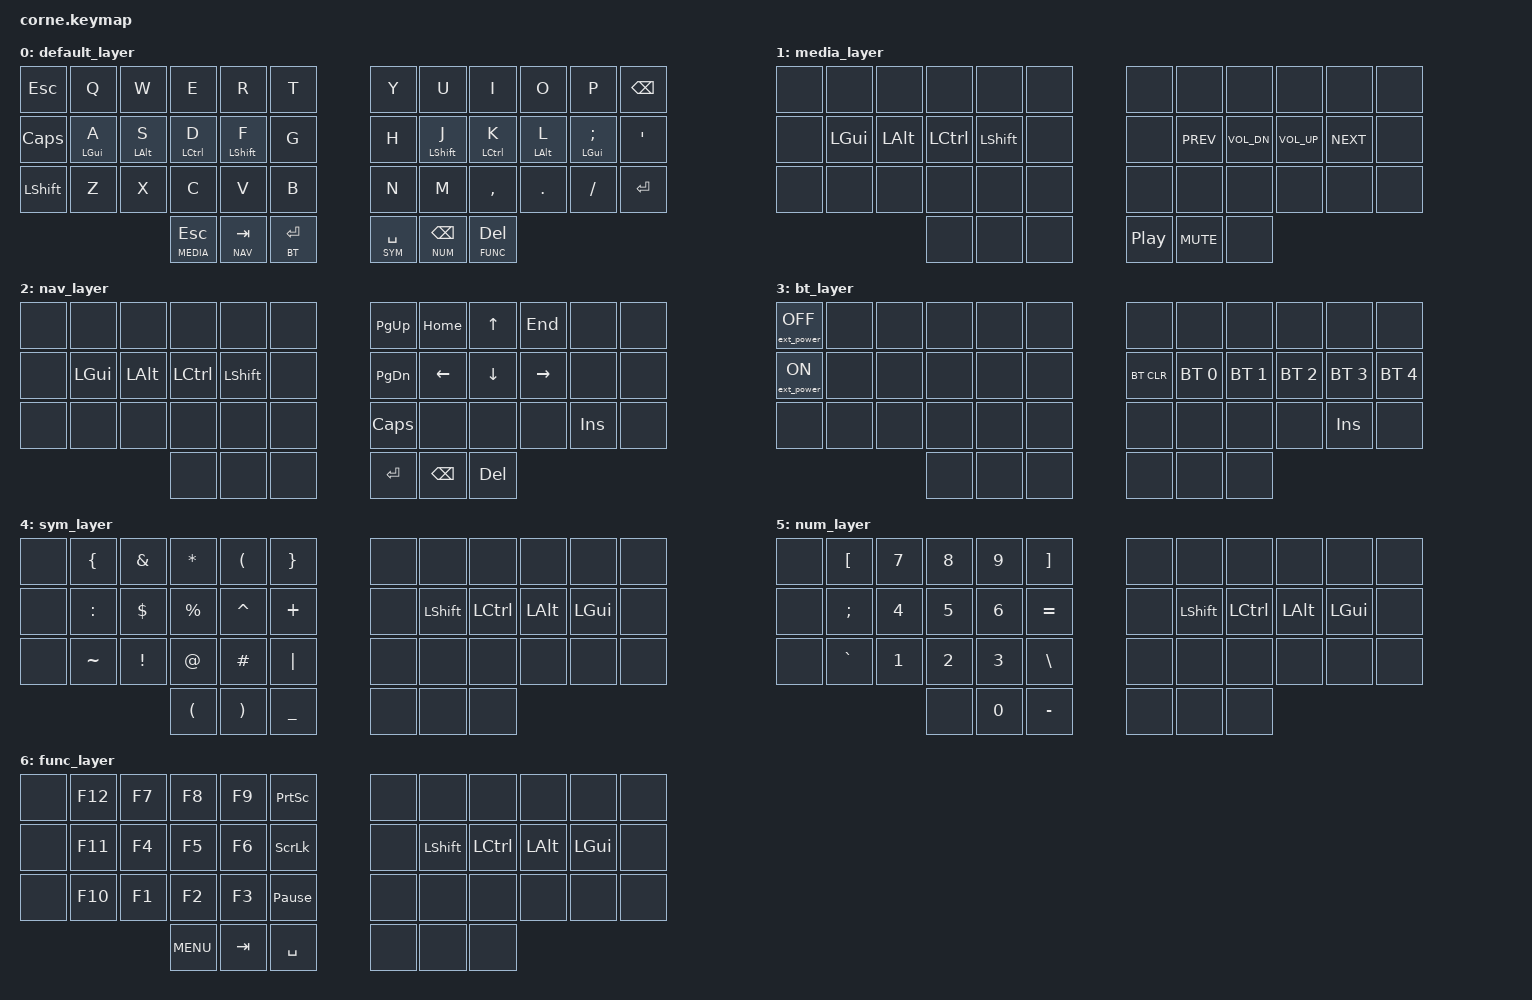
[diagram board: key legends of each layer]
/*
 * Copyright (c) 2020 The ZMK Contributors
 *
 * SPDX-License-Identifier: MIT
 */

#include <behaviors.dtsi>
#include <dt-bindings/zmk/keys.h>
#include <dt-bindings/zmk/bt.h>
#include <dt-bindings/zmk/ext_power.h>

#define QWERT 0
#define MEDIA 1
#define NAV   2
#define BT    3
#define SYM   4
#define NUM   5
#define FUNC  6

&mt {
    tapping-term-ms = <200>;
    flavor = "tap-preferred";
};

&caps_word {
    continue-list = <UNDERSCORE MINUS>;
};

/ {
        keymap {
                compatible = "zmk,keymap";

                default_layer {
// -----------------------------------------------------------------------------------------
// |  ESC |  Q  |  W  |  E  |  R  |  T  |   |  Y  |  U   |  I  |  O  |  P  | BKSP |
// | CAPS |  A  |  S  |  D  |  F  |  G  |   |  H  |  J   |  K  |  L  |  ;  |  '   |
// | SHFT |  Z  |  X  |  C  |  V  |  B  |   |  N  |  M   |  ,  |  .  |  /  | ENT  |
//                    | ESC | TAB | ENT |   | SPC | BKSP | DEL |
                        bindings = <
   &kp ESC   &kp Q      &kp W      &kp E       &kp R         &kp T          &kp Y         &kp U        &kp I       &kp O      &kp P         &kp BSPC
   &kp CAPS  &mt LGUI A &mt LALT S &mt LCTRL D &mt LSHFT F   &kp G          &kp H         &mt LSHFT J  &mt LCTRL K &mt LALT L &mt LGUI SEMI &kp SQT
   &kp LSHFT &kp Z      &kp X      &kp C       &kp V         &kp B          &kp N         &kp M        &kp COMMA   &kp DOT    &kp FSLH      &kp ENTER
                                   &lt MEDIA ESC &lt NAV TAB &lt BT ENTER   &lt SYM SPACE &lt NUM BSPC &lt FUNC DEL
                        >;
                };
                media_layer {
// -----------------------------------------------------------------------------------------
// |     |      |      |       |       |     |   |      |      |      |      |      |     |
// |     | LGUI | LALT | LCTRL | LSHFT |     |   |      | PREV | VOL- | VOL+ | NEXT |     |
// |     |      |      |       |       |     |   |      |      |      |      |      |     |
//                     |       |       |     |   | PLAY | MUTE |      |
                        bindings = <
   &none &none    &none    &none     &none     &none   &none    &none      &none        &none        &none      &none
   &none &kp LGUI &kp LALT &kp LCTRL &kp LSHFT &none   &none    &kp C_PREV &kp C_VOL_DN &kp C_VOL_UP &kp C_NEXT &none
   &none &none    &none    &none     &none     &none   &none    &none      &none        &none        &none      &none
                            &none    &none     &none   &kp C_PP &kp C_MUTE &none
                        >;
                };

                nav_layer {
// -----------------------------------------------------------------------------------------
// |  TAB |  !  |  @  |  #  |  $  |  %  |   |  ^  |  &  |  *  |  (  |  )  | BKSP |
// | CTRL |     |     |     |     |     |   |  -  |  =  |  [  |  ]  |  \  |  `   |
// | SHFT |     |     |     |     |     |   |  _  |  +  |  {  |  }  | "|" |  ~   |
//                    | GUI |     | SPC |   | ENT |     | ALT |
                        bindings = <
   &none &none    &none    &none     &none     &none   &kp PG_UP &kp HOME &kp UP   &kp END   &none   &none
   &none &kp LGUI &kp LALT &kp LCTRL &kp LSHFT &none   &kp PG_DN &kp LEFT &kp DOWN &kp RIGHT &none   &none
   &none &none    &none    &none     &none     &none   &kp CAPS  &none    &none    &none     &kp INS &none
                           &none     &none     &none   &kp ENTER &kp BSPC &kp DEL
                        >;
                };
                
                bt_layer {
// -----------------------------------------------------------------------------------------
// |  TAB |  !  |  @  |  #  |  $  |  %  |   |  ^  |  &  |  *  |  (  |  )  | BKSP |
// | CTRL |     |     |     |     |     |   |  -  |  =  |  [  |  ]  |  \  |  `   |
// | SHFT |     |     |     |     |     |   |  _  |  +  |  {  |  }  | "|" |  ~   |
//                    | GUI |     | SPC |   | ENT |     | ALT |
                        bindings = <
   &ext_power EP_OFF &none &none &none &none &none   &none      &none        &none        &none        &none        &none
   &ext_power EP_ON  &none &none &none &none &none   &bt BT_CLR &bt BT_SEL 0 &bt BT_SEL 1 &bt BT_SEL 2 &bt BT_SEL 3 &bt BT_SEL 4
   &none             &none &none &none &none &none   &none      &none        &none        &none        &kp INS      &none
                                 &none &none &none   &none      &none        &none
                        >;
                };

                sym_layer {
// -----------------------------------------------------------------------------------------
// |  TAB |  !  |  @  |  #  |  $  |  %  |   |  ^  |  &  |  *  |  (  |  )  | BKSP |
// | CTRL |     |     |     |     |     |   |  -  |  =  |  [  |  ]  |  \  |  `   |
// | SHFT |     |     |     |     |     |   |  _  |  +  |  {  |  }  | "|" |  ~   |
//                    | GUI |     | SPC |   | ENT |     | ALT |
                        bindings = <
   &none &kp LBRC  &kp AMPS &kp ASTRK &kp LPAR  &kp RBRC    &none &none     &none     &none    &none    &none
   &none &kp COLON &kp DLLR &kp PRCNT &kp CARET &kp PLUS    &none &kp LSHFT &kp LCTRL &kp LALT &kp LGUI &none
   &none &kp TILDE &kp EXCL &kp AT    &kp HASH  &kp PIPE    &none &none     &none     &none    &none    &none
                            &kp LPAR  &kp RPAR  &kp UNDER   &none &none     &none
                        >;
                };

                num_layer {
// -----------------------------------------------------------------------------------------
// |  TAB |  !  |  @  |  #  |  $  |  %  |   |  ^  |  &  |  *  |  (  |  )  | BKSP |
// | CTRL |     |     |     |     |     |   |  -  |  =  |  [  |  ]  |  \  |  `   |
// | SHFT |     |     |     |     |     |   |  _  |  +  |  {  |  }  | "|" |  ~   |
//                    | GUI |     | SPC |   | ENT |     | ALT |
                        bindings = <
   &none &kp LBKT  &kp N7 &kp N8 &kp N9 &kp RBKT    &none &none     &none     &none    &none    &none
   &none &kp SEMI  &kp N4 &kp N5 &kp N6 &kp EQUAL   &none &kp LSHFT &kp LCTRL &kp LALT &kp LGUI &none
   &none &kp GRAVE &kp N1 &kp N2 &kp N3 &kp BSLH    &none &none     &none     &none    &none    &none
                          &none  &kp N0 &kp MINUS   &none &none     &none
                        >;
                };

                func_layer {
// -----------------------------------------------------------------------------------------
// |  TAB |  !  |  @  |  #  |  $  |  %  |   |  ^  |  &  |  *  |  (  |  )  | BKSP |
// | CTRL |     |     |     |     |     |   |  -  |  =  |  [  |  ]  |  \  |  `   |
// | SHFT |     |     |     |     |     |   |  _  |  +  |  {  |  }  | "|" |  ~   |
//                    | GUI |     | SPC |   | ENT |     | ALT |
                        bindings = <
   &none &kp F12 &kp F7 &kp F8     &kp F9  &kp PSCRN         &none &none     &none     &none    &none    &none
   &none &kp F11 &kp F4 &kp F5     &kp F6  &kp SLCK          &none &kp LSHFT &kp LCTRL &kp LALT &kp LGUI &none
   &none &kp F10 &kp F1 &kp F2     &kp F3  &kp PAUSE_BREAK   &none &none     &none     &none    &none    &none
                        &kp C_MENU &kp TAB &kp SPACE         &none &none     &none
                        >;
                };
        };
};
